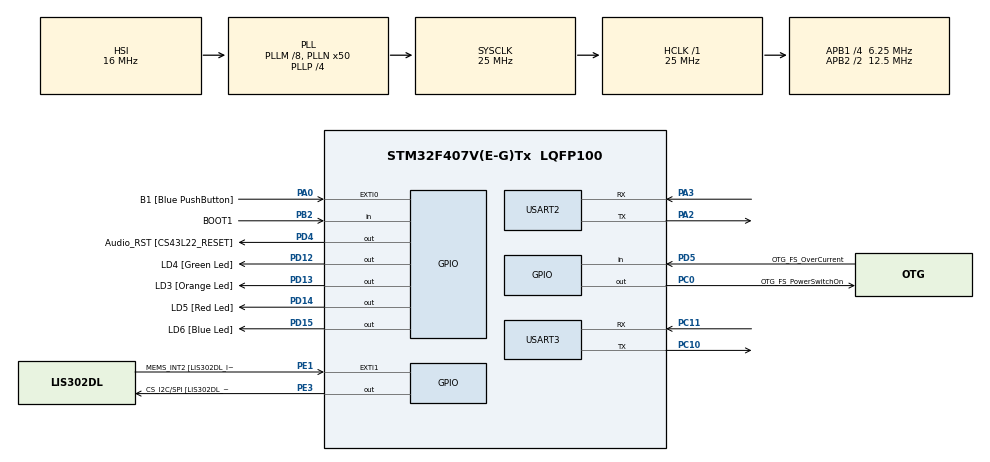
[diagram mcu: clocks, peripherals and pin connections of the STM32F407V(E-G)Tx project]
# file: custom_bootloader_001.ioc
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Mcu.Family=STM32F4
Mcu.Name=STM32F407V(E-G)Tx
Mcu.Package=LQFP100
NVIC.PriorityGroup=NVIC_PRIORITYGROUP_0
PA0-WKUP.GPIO_Label=B1 [Blue PushButton]
PA0-WKUP.Signal=GPXTI0
PA10.GPIO_Label=OTG_FS_ID
PA10.GPIO_Mode=GPIO_MODE_AF_PP
PA10.GPIO_PuPd=GPIO_NOPULL
PA10.GPIO_Speed=GPIO_SPEED_FREQ_LOW
PA10.Signal=USB_OTG_FS_ID
PA11.GPIO_Label=OTG_FS_DM
PA11.GPIO_Mode=GPIO_MODE_AF_PP
PA11.GPIO_PuPd=GPIO_NOPULL
PA11.GPIO_Speed=GPIO_SPEED_FREQ_LOW
PA11.Signal=USB_OTG_FS_DM
PA12.GPIO_Label=OTG_FS_DP
PA12.GPIO_Mode=GPIO_MODE_AF_PP
PA12.GPIO_PuPd=GPIO_NOPULL
PA12.GPIO_Speed=GPIO_SPEED_FREQ_LOW
PA12.Signal=USB_OTG_FS_DP
PA13.GPIO_Label=SWDIO
PA13.Signal=SYS_JTMS-SWDIO
PA14.GPIO_Label=SWCLK
PA14.Signal=SYS_JTCK-SWCLK
PA2.Mode=Asynchronous
PA2.Signal=USART2_TX
PA3.Mode=Asynchronous
PA3.Signal=USART2_RX
PA4.GPIO_Label=I2S3_WS [CS43L22_LRCK]
PA4.GPIO_Mode=GPIO_MODE_AF_PP
PA4.GPIO_PuPd=GPIO_NOPULL
PA4.GPIO_Speed=GPIO_SPEED_FREQ_LOW
PA4.Signal=I2S3_WS
PA5.GPIO_Label=SPI1_SCK [LIS302DL_SCL/SPC]
PA5.GPIO_Mode=GPIO_MODE_AF_PP
PA5.GPIO_PuPd=GPIO_NOPULL
PA5.GPIO_Speed=GPIO_SPEED_FREQ_LOW
PA5.Signal=SPI1_SCK
PA6.GPIO_Label=SPI1_MISO [LIS302DL_SDO]
PA6.GPIO_Mode=GPIO_MODE_AF_PP
PA6.GPIO_PuPd=GPIO_NOPULL
PA6.GPIO_Speed=GPIO_SPEED_FREQ_LOW
PA6.Signal=SPI1_MISO
PA7.GPIO_Label=SPI1_MOSI [LIS302DL_SDA/SDI/SDO]
PA7.GPIO_Mode=GPIO_MODE_AF_PP
PA7.GPIO_PuPd=GPIO_NOPULL
PA7.GPIO_Speed=GPIO_SPEED_FREQ_LOW
PA7.Signal=SPI1_MOSI
PA9.GPIO_Label=VBUS_FS
PA9.GPIO_Mode=GPIO_MODE_INPUT
PA9.GPIO_PuPd=GPIO_NOPULL
PA9.Signal=USB_OTG_FS_VBUS
PB10.GPIO_Label=CLK_IN [MP45DT02_CLK]
PB10.GPIO_Mode=GPIO_MODE_AF_PP
PB10.GPIO_PuPd=GPIO_NOPULL
PB10.GPIO_Speed=GPIO_SPEED_FREQ_LOW
PB10.Signal=I2S2_CK
PB2.GPIO_Label=BOOT1
PB2.GPIO_Mode=GPIO_MODE_INPUT
PB2.GPIO_PuPd=GPIO_NOPULL
PB2.Signal=GPIO_Input
PB3.GPIO_Label=SWO
PB3.Signal=SYS_JTDO-SWO
PB6.GPIO_Label=Audio_SCL [CS43L22_SCL]
PB6.GPIO_Mode=GPIO_MODE_AF_OD
PB6.GPIO_PuPd=GPIO_NOPULL
PB6.GPIO_Speed=GPIO_SPEED_FREQ_LOW
PB6.Signal=I2C1_SCL
PB9.GPIO_Label=Audio_SDA [CS43L22_SDA]
PB9.GPIO_Mode=GPIO_MODE_AF_OD
PB9.GPIO_PuPd=GPIO_NOPULL
PB9.GPIO_Speed=GPIO_SPEED_FREQ_LOW
PB9.Signal=I2C1_SDA
PC0.GPIO_Label=OTG_FS_PowerSwitchOn
PC0.GPIO_PuPd=GPIO_NOPULL
PC0.GPIO_Speed=GPIO_SPEED_FREQ_LOW
PC0.PinState=GPIO_PIN_SET
PC0.Signal=GPIO_Output
PC10.Mode=Asynchronous
PC10.Signal=USART3_TX
PC11.Mode=Asynchronous
PC11.Signal=USART3_RX
PC12.GPIO_Label=I2S3_SD [CS43L22_SDIN]
PC12.GPIO_Mode=GPIO_MODE_AF_PP
PC12.GPIO_PuPd=GPIO_NOPULL
PC12.GPIO_Speed=GPIO_SPEED_FREQ_LOW
PC12.Signal=I2S3_SD
PC14-OSC32_IN.GPIO_Label=PC14-OSC32_IN
PC14-OSC32_IN.Signal=RCC_OSC32_IN
PC15-OSC32_OUT.GPIO_Label=PC15-OSC32_OUT
PC15-OSC32_OUT.Signal=RCC_OSC32_OUT
PC3.GPIO_Label=PDM_OUT [MP45DT02_DOUT]
PC3.GPIO_Mode=GPIO_MODE_AF_PP
PC3.GPIO_PuPd=GPIO_NOPULL
PC3.GPIO_Speed=GPIO_SPEED_FREQ_LOW
PC3.Signal=I2S2_SD
PC7.GPIO_Label=I2S3_MCK [CS43L22_MCLK]
PC7.GPIO_Mode=GPIO_MODE_AF_PP
PC7.GPIO_PuPd=GPIO_NOPULL
PC7.GPIO_Speed=GPIO_SPEED_FREQ_LOW
PC7.Signal=I2S3_MCK
PD12.GPIO_Label=LD4 [Green Led]
PD12.GPIO_PuPd=GPIO_NOPULL
PD12.GPIO_Speed=GPIO_SPEED_FREQ_LOW
PD12.Signal=GPIO_Output
PD13.GPIO_Label=LD3 [Orange Led]
PD13.GPIO_PuPd=GPIO_NOPULL
PD13.GPIO_Speed=GPIO_SPEED_FREQ_LOW
PD13.Signal=GPIO_Output
PD14.GPIO_Label=LD5 [Red Led]
PD14.GPIO_PuPd=GPIO_NOPULL
PD14.GPIO_Speed=GPIO_SPEED_FREQ_LOW
PD14.Signal=GPIO_Output
PD15.GPIO_Label=LD6 [Blue Led]
PD15.GPIO_PuPd=GPIO_NOPULL
PD15.GPIO_Speed=GPIO_SPEED_FREQ_LOW
PD15.Signal=GPIO_Output
PD4.GPIO_Label=Audio_RST [CS43L22_RESET]
PD4.GPIO_PuPd=GPIO_NOPULL
PD4.GPIO_Speed=GPIO_SPEED_FREQ_LOW
PD4.Signal=GPIO_Output
PD5.GPIO_Label=OTG_FS_OverCurrent
PD5.GPIO_Mode=GPIO_MODE_INPUT
PD5.GPIO_PuPd=GPIO_NOPULL
PD5.Signal=GPIO_Input
PE1.GPIO_Label=MEMS_INT2 [LIS302DL_INT2]
PE1.GPIO_ModeDefaultEXTI=GPIO_MODE_EVT_RISING
PE1.GPIO_PuPd=GPIO_NOPULL
PE1.Signal=GPXTI1
PE3.GPIO_Label=CS_I2C/SPI [LIS302DL_CS_I2C/SPI]
PE3.GPIO_PuPd=GPIO_NOPULL
PE3.GPIO_Speed=GPIO_SPEED_FREQ_LOW
PE3.Signal=GPIO_Output
PH0-OSC_IN.GPIO_Label=PH0-OSC_IN
PH0-OSC_IN.Signal=RCC_OSC_IN
PH1-OSC_OUT.GPIO_Label=PH1-OSC_OUT
PH1-OSC_OUT.Signal=RCC_OSC_OUT
ProjectManager.HeapSize=0x200
ProjectManager.StackSize=0x400
ProjectManager.TargetToolchain=STM32CubeIDE
RCC.48MHZClocksFreq_Value=14285714.285714285
RCC.AHBFreq_Value=25000000
RCC.APB1CLKDivider=RCC_HCLK_DIV4
RCC.APB1Freq_Value=6250000
RCC.APB1TimFreq_Value=12500000
RCC.APB2CLKDivider=RCC_HCLK_DIV2
RCC.APB2Freq_Value=12500000
RCC.APB2TimFreq_Value=25000000
RCC.CortexFreq_Value=25000000
RCC.HCLKFreq_Value=25000000
RCC.HSE_VALUE=8000000
RCC.HSI_VALUE=16000000
RCC.LSE_VALUE=32768
RCC.PLLM=8
RCC.PLLN=50
RCC.PLLP=RCC_PLLP_DIV4
RCC.PLLQ=7
RCC.SYSCLKFreq_VALUE=25000000
RCC.SYSCLKSource=RCC_SYSCLKSOURCE_PLLCLK
RCC.VCOOutputFreq_Value=100000000
USART2.VirtualMode=VM_ASYNC
USART3.VirtualMode=VM_ASYNC
VP_CRC_VS_CRC.Mode=CRC_Activate
board=STM32F407G-DISC1

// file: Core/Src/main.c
/* USER CODE BEGIN Header */
/**
  ******************************************************************************
  * @file           : main.c
  * @brief          : Main program body
  ******************************************************************************
  * @attention
  *
  * Copyright (c) 2024 STMicroelectronics.
  * All rights reserved.
  *
  * This software is licensed under terms that can be found in the LICENSE file
  * in the root directory of this software component.
  * If no LICENSE file comes with this software, it is provided AS-IS.
  *
  ******************************************************************************
  */
/* USER CODE END Header */
#include <stdarg.h>
#include <stdint.h>
#include <stdio.h>
#include <string.h>

#include "main.h"

/* USER CODE BEGIN Includes */
#if 1
#define BL_DEBUG_MSG_EN
#endif
/* USER CODE END Includes */

CRC_HandleTypeDef hcrc;

UART_HandleTypeDef huart2;
UART_HandleTypeDef huart3;

#define CMD_UART   &huart2
#define DBG_UART   &huart3

void SystemClock_Config(void);
static void MX_GPIO_Init(void);
static void MX_CRC_Init(void);
static void MX_USART2_UART_Init(void);
static void MX_USART3_UART_Init(void);
/* USER CODE BEGIN PFP */
static void printmsg(char *format,...);
/* USER CODE END PFP */

/* USER CODE BEGIN 0 */
char someData[] = "Hello from Bootloader\n";

#define BL_RX_LEN 200
uint8_t bl_rx_buff[BL_RX_LEN];

#if 0
	const uint8_t array[0x8000] = {0};
#endif
/* USER CODE END 0 */

int main(void)
{

  /* MCU Configuration--------------------------------------------------------*/

  /* Reset of all peripherals, Initializes the Flash interface and the Systick. */
  HAL_Init();

  /* Configure the system clock */
  SystemClock_Config();

  /* Initialize all configured peripherals */
  MX_GPIO_Init();
  MX_CRC_Init();
  MX_USART2_UART_Init();
  MX_USART3_UART_Init();

#if 0
  int somevar = 0;
  for(int i = 0; i < 0x8000; i++) {
	  somevar = array[i];
  }
#endif

  /* USER CODE BEGIN 2 */
  if( HAL_GPIO_ReadPin(B1_GPIO_Port,B1_Pin) == GPIO_PIN_SET )
    {
  	  printmsg("[BL_DBG]: Button is pressed, going to BL mode...\n");
  	  //if User button is pressed, bootloader should wait for command
  	  bootloader_uart_read_data();
    }
    else
    {
  	  printmsg("[BL_DBG]: Button is not pressed, will jump to user_application.\n");
  	  //if User button is not pressed, jump to user application
  	  bootloader_jump_to_user_app();
    }
  /* USER CODE END 2 */

#if 0
  /* Infinite loop */
  while (1)
  {
	  //HAL_UART_Transmit(&huart2, (uint8_t *) someData, sizeof(someData), HAL_MAX_DELAY); //testing 'Command UART'
	  //HAL_UART_Transmit(&huart3, (uint8_t *) someData, sizeof(someData), HAL_MAX_DELAY); //testing 'Debug UART'
  }
#endif
} //main()

/***************** Implementation of common functions **************************/

uint8_t bl_verify_crc (uint8_t *pData, uint32_t len, uint32_t host_crc) {
	uint32_t bl_crc=0xFF;

    for (uint32_t i=0 ; i < len ; i++) {
        uint32_t i_data = pData[i];
        bl_crc = HAL_CRC_Accumulate(&hcrc, &i_data, 1);
	}

  __HAL_CRC_DR_RESET(&hcrc); //soft reset CRC module

	if( bl_crc == host_crc) {
		return VERIFY_CRC_SUCCESS;
	}

	return VERIFY_CRC_FAIL;
}

void bl_send_ack(uint8_t len_to_follow) {
	//we send 2 bytes here - ACK, len_to_follow in bytes
	uint8_t ack_buff[2] = {0};
	ack_buff[0] = BL_ACK;
	ack_buff[1] = len_to_follow;
	HAL_UART_Transmit(CMD_UART, ack_buff, 2, HAL_MAX_DELAY);
}

void bl_send_nack(void) {
	uint8_t nack = BL_NACK;
	HAL_UART_Transmit(CMD_UART, &nack, 1, HAL_MAX_DELAY);
}

void bl_uart_write_data(uint8_t *pData, uint8_t len) {
	HAL_UART_Transmit(CMD_UART, pData, len, HAL_MAX_DELAY);
}

uint8_t mem_write(uint8_t *pBuffer, uint32_t mem_address, uint32_t len) {
    uint8_t status=HAL_OK;

    //We have to unlock flash module to get control of registers
    HAL_FLASH_Unlock();

    for(uint32_t i = 0 ; i <len ; i++)
    {
        //Here we program the flash byte by byte
        status = HAL_FLASH_Program(FLASH_TYPEPROGRAM_BYTE,mem_address+i,pBuffer[i] );
    }

    HAL_FLASH_Lock();

    return status;
}

//verify the address sent by the host .
uint8_t verify_address(uint32_t go_address) {
	return ADDR_VALID;
}

/*******************************************************************************/

/****************** Implementation of BL CMD Handle functions ******************/

void bl_get_ver_handle(uint8_t *bl_rx_buff) {
	printmsg("[BL_DBG]: In %s\n", __func__);

	uint8_t bl_ver = 0;

	//total length of the cmd_pkt = length_to_follow + cmd + CRC
	uint8_t cmd_pkt_len = 6;

	//extract host_crc
	uint32_t host_crc = *( (uint32_t *) &bl_rx_buff[2] );
	//uint32_t host_crc = *( (uint32_t *) (bl_rx_buff + cmd_pkt_len - 4) );

	if( !(bl_verify_crc(bl_rx_buff, cmd_pkt_len - 4, host_crc)) ) {
		//CRC pass
		printmsg("[BL_DBG]: CRC PASS !!\n");
		bl_send_ack(1); //only 1 Byte will be send in reply
		bl_ver = (uint8_t) BL_VERSION;
		printmsg("[BL_DBG]: BL_VERSION = %d, 0x%x\n", bl_ver, bl_ver);
		bl_uart_write_data(&bl_ver, 1);
	}
	else {
		//CRC fail
		printmsg("[BL_DBG]: CRC FAIL !!!!!\n");
		bl_send_nack();
	}

}

void bl_get_help_handle(uint8_t *bl_rx_buff) {

}

void bl_get_cid_handle(uint8_t *bl_rx_buff) {

}

/*******************************************************************************/

void bl_mem_write_cmd_handle(uint8_t *pBuffer)
{
	//uint8_t addr_valid = ADDR_VALID;
	uint8_t write_status = 0x00;
	//uint8_t len=0;
	//len = pBuffer[0];
	uint8_t payload_len = pBuffer[6];

	uint32_t mem_address = *((uint32_t *) ( &pBuffer[2]) );

	//chksum = pBuffer[len];

    printmsg("BL_DEBUG_MSG:bootloader_handle_mem_write_cmd\n");

    //Total length of the command packet
	uint32_t command_packet_len = bl_rx_buff[0]+1 ;

	//extract the CRC32 sent by the Host
	uint32_t host_crc = *((uint32_t * ) (bl_rx_buff+command_packet_len - 4) ) ;

	if (! bl_verify_crc(&bl_rx_buff[0],command_packet_len-4,host_crc))
	{
        printmsg("BL_DEBUG_MSG:checksum success !!\n");

        bl_send_ack(1);

        printmsg("BL_DEBUG_MSG: mem write address : %#x\n",mem_address);

		if( verify_address(mem_address) == ADDR_VALID )
		{

            printmsg("BL_DEBUG_MSG: valid mem write address\n");

            //glow the led to indicate bootloader is currently writing to memory
            HAL_GPIO_WritePin(LD4_GPIO_Port, LD4_Pin, GPIO_PIN_SET);

            //execute mem write
            write_status = mem_write(&pBuffer[7],mem_address, payload_len);

            //turn off the led to indicate memory write is over
            HAL_GPIO_WritePin(LD4_GPIO_Port, LD4_Pin, GPIO_PIN_RESET);

            //inform host about the status
            bl_uart_write_data(&write_status,1);

		}else
		{
            printmsg("BL_DEBUG_MSG: invalid mem write address\n");
            write_status = ADDR_INVALID;
            //inform host that address is invalid
            bl_uart_write_data(&write_status,1);
		}

	}else
	{
        printmsg("BL_DEBUG_MSG:checksum fail !!\n");
        bl_send_nack();
	}

}

void bootloader_uart_read_data(void) {
	uint8_t pkt_len_to_follow = 0;

	while(1) {
		memset(bl_rx_buff, 0, 200);
		//here, read and decode commands from the Host
		//first, read only the 'length' field of the CMD packet and then read 'length' bytes
		HAL_UART_Receive(CMD_UART, bl_rx_buff, 1, HAL_MAX_DELAY);
		pkt_len_to_follow = bl_rx_buff[0];
		HAL_UART_Receive(CMD_UART, &bl_rx_buff[1], pkt_len_to_follow, HAL_MAX_DELAY);

		//based on the CMD, process accordingly
		switch(bl_rx_buff[1]) {
			case BL_GET_VER:
				bl_get_ver_handle(bl_rx_buff);
				break;
			case BL_GET_HELP:
				bl_get_help_handle(bl_rx_buff);
				break;
			case BL_GET_CID:
				bl_get_cid_handle(bl_rx_buff);
				break;
			case BL_MEM_WRITE:
				bl_mem_write_cmd_handle(bl_rx_buff);
			default:
				printmsg("[BL_DBG]: Invalid bootloader command\n");
				break;
		}
	}
}

void bootloader_jump_to_user_app(void) {
	//fn_ptr to hold the address of the user_application's reset_handler
	void (*fn_ptr_void_void) (void) = NULL;

#if 0 //is this really needed ?? Working without this. Taken care by the reset_handler of user_application
	//configure MSP by reading the first word of the user_application region in Flash memory
	uint32_t msp_value = *( (volatile uint32_t *) FLASH_SECTOR2_BASE_ADDRESS );
	printmsg("[BL_DBG]: MSP value = 0x%x\n", msp_value);
	__set_MSP(msp_value); //CMSIS API
#endif

	//store the addr of user_application's reset_handler in the fn_ptr
	uint32_t reset_handler_addr = *( (volatile uint32_t *) (FLASH_SECTOR2_BASE_ADDRESS + 4) );
	printmsg("[BL_DBG]: reset_handler_addr of user_application = 0x%x\n", reset_handler_addr);
	fn_ptr_void_void = (void *) reset_handler_addr;

	//jump to the reset_handler of user_application
	printmsg("[BL_DBG]: bootloader jumping to user_application...\n");
	fn_ptr_void_void();
} //void bootloader_jump_to_user_app(void)

/* prints formatted string to console over UART */
 void printmsg(char *format,...)
 {
#ifdef BL_DEBUG_MSG_EN
	char str[80];

	/*Extract the the argument list using VA apis */
	va_list args;
	va_start(args, format);
	vsprintf(str, format,args);
	HAL_UART_Transmit(DBG_UART,(uint8_t *)str, strlen(str),HAL_MAX_DELAY);
	va_end(args);
#endif
 }

void SystemClock_Config(void)
{
  RCC_OscInitTypeDef RCC_OscInitStruct = {0};
  RCC_ClkInitTypeDef RCC_ClkInitStruct = {0};

  /** Configure the main internal regulator output voltage
  */
  __HAL_RCC_PWR_CLK_ENABLE();
  __HAL_PWR_VOLTAGESCALING_CONFIG(PWR_REGULATOR_VOLTAGE_SCALE1);

  /** Initializes the RCC Oscillators according to the specified parameters
  * in the RCC_OscInitTypeDef structure.
  */
  RCC_OscInitStruct.OscillatorType = RCC_OSCILLATORTYPE_HSI;
  RCC_OscInitStruct.HSIState = RCC_HSI_ON;
  RCC_OscInitStruct.HSICalibrationValue = RCC_HSICALIBRATION_DEFAULT;
  RCC_OscInitStruct.PLL.PLLState = RCC_PLL_ON;
  RCC_OscInitStruct.PLL.PLLSource = RCC_PLLSOURCE_HSI;
  RCC_OscInitStruct.PLL.PLLM = 8;
  RCC_OscInitStruct.PLL.PLLN = 50;
  RCC_OscInitStruct.PLL.PLLP = RCC_PLLP_DIV4;
  RCC_OscInitStruct.PLL.PLLQ = 7;
  if (HAL_RCC_OscConfig(&RCC_OscInitStruct) != HAL_OK)
  {
    Error_Handler();
  }

  /** Initializes the CPU, AHB and APB buses clocks
  */
  RCC_ClkInitStruct.ClockType = RCC_CLOCKTYPE_HCLK|RCC_CLOCKTYPE_SYSCLK
                              |RCC_CLOCKTYPE_PCLK1|RCC_CLOCKTYPE_PCLK2;
  RCC_ClkInitStruct.SYSCLKSource = RCC_SYSCLKSOURCE_PLLCLK;
  RCC_ClkInitStruct.AHBCLKDivider = RCC_SYSCLK_DIV1;
  RCC_ClkInitStruct.APB1CLKDivider = RCC_HCLK_DIV4;
  RCC_ClkInitStruct.APB2CLKDivider = RCC_HCLK_DIV2;

  if (HAL_RCC_ClockConfig(&RCC_ClkInitStruct, FLASH_LATENCY_0) != HAL_OK)
  {
    Error_Handler();
  }
}

static void MX_CRC_Init(void)
{

  hcrc.Instance = CRC;
  if (HAL_CRC_Init(&hcrc) != HAL_OK)
  {
    Error_Handler();
  }

}

static void MX_USART2_UART_Init(void)
{

  huart2.Instance = USART2;
  huart2.Init.BaudRate = 115200;
  huart2.Init.WordLength = UART_WORDLENGTH_8B;
  huart2.Init.StopBits = UART_STOPBITS_1;
  huart2.Init.Parity = UART_PARITY_NONE;
  huart2.Init.Mode = UART_MODE_TX_RX;
  huart2.Init.HwFlowCtl = UART_HWCONTROL_NONE;
  huart2.Init.OverSampling = UART_OVERSAMPLING_16;
  if (HAL_UART_Init(&huart2) != HAL_OK)
  {
    Error_Handler();
  }

}

static void MX_USART3_UART_Init(void)
{

  huart3.Instance = USART3;
  huart3.Init.BaudRate = 115200;
  huart3.Init.WordLength = UART_WORDLENGTH_8B;
  huart3.Init.StopBits = UART_STOPBITS_1;
  huart3.Init.Parity = UART_PARITY_NONE;
  huart3.Init.Mode = UART_MODE_TX_RX;
  huart3.Init.HwFlowCtl = UART_HWCONTROL_NONE;
  huart3.Init.OverSampling = UART_OVERSAMPLING_16;
  if (HAL_UART_Init(&huart3) != HAL_OK)
  {
    Error_Handler();
  }

}

static void MX_GPIO_Init(void)
{
  GPIO_InitTypeDef GPIO_InitStruct = {0};

  /* GPIO Ports Clock Enable */
  __HAL_RCC_GPIOE_CLK_ENABLE();
  __HAL_RCC_GPIOC_CLK_ENABLE();
  __HAL_RCC_GPIOH_CLK_ENABLE();
  __HAL_RCC_GPIOA_CLK_ENABLE();
  __HAL_RCC_GPIOB_CLK_ENABLE();
  __HAL_RCC_GPIOD_CLK_ENABLE();

  /*Configure GPIO pin Output Level */
  HAL_GPIO_WritePin(CS_I2C_SPI_GPIO_Port, CS_I2C_SPI_Pin, GPIO_PIN_RESET);

  /*Configure GPIO pin Output Level */
  HAL_GPIO_WritePin(OTG_FS_PowerSwitchOn_GPIO_Port, OTG_FS_PowerSwitchOn_Pin, GPIO_PIN_SET);

  /*Configure GPIO pin Output Level */
  HAL_GPIO_WritePin(GPIOD, LD4_Pin|LD3_Pin|LD5_Pin|LD6_Pin
                          |Audio_RST_Pin, GPIO_PIN_RESET);

  /*Configure GPIO pin : CS_I2C_SPI_Pin */
  GPIO_InitStruct.Pin = CS_I2C_SPI_Pin;
  GPIO_InitStruct.Mode = GPIO_MODE_OUTPUT_PP;
  GPIO_InitStruct.Pull = GPIO_NOPULL;
  GPIO_InitStruct.Speed = GPIO_SPEED_FREQ_LOW;
  HAL_GPIO_Init(CS_I2C_SPI_GPIO_Port, &GPIO_InitStruct);

  /*Configure GPIO pin : OTG_FS_PowerSwitchOn_Pin */
  GPIO_InitStruct.Pin = OTG_FS_PowerSwitchOn_Pin;
  GPIO_InitStruct.Mode = GPIO_MODE_OUTPUT_PP;
  GPIO_InitStruct.Pull = GPIO_NOPULL;
  GPIO_InitStruct.Speed = GPIO_SPEED_FREQ_LOW;
  HAL_GPIO_Init(OTG_FS_PowerSwitchOn_GPIO_Port, &GPIO_InitStruct);

  /*Configure GPIO pin : PDM_OUT_Pin */
  GPIO_InitStruct.Pin = PDM_OUT_Pin;
  GPIO_InitStruct.Mode = GPIO_MODE_AF_PP;
  GPIO_InitStruct.Pull = GPIO_NOPULL;
  GPIO_InitStruct.Speed = GPIO_SPEED_FREQ_LOW;
  GPIO_InitStruct.Alternate = GPIO_AF5_SPI2;
  HAL_GPIO_Init(PDM_OUT_GPIO_Port, &GPIO_InitStruct);

  /*Configure GPIO pin : B1_Pin */
  GPIO_InitStruct.Pin = B1_Pin;
  GPIO_InitStruct.Mode = GPIO_MODE_IT_RISING;
  GPIO_InitStruct.Pull = GPIO_NOPULL;
  HAL_GPIO_Init(B1_GPIO_Port, &GPIO_InitStruct);

  /*Configure GPIO pin : I2S3_WS_Pin */
  GPIO_InitStruct.Pin = I2S3_WS_Pin;
  GPIO_InitStruct.Mode = GPIO_MODE_AF_PP;
  GPIO_InitStruct.Pull = GPIO_NOPULL;
  GPIO_InitStruct.Speed = GPIO_SPEED_FREQ_LOW;
  GPIO_InitStruct.Alternate = GPIO_AF6_SPI3;
  HAL_GPIO_Init(I2S3_WS_GPIO_Port, &GPIO_InitStruct);

  /*Configure GPIO pins : SPI1_SCK_Pin SPI1_MISO_Pin SPI1_MOSI_Pin */
  GPIO_InitStruct.Pin = SPI1_SCK_Pin|SPI1_MISO_Pin|SPI1_MOSI_Pin;
  GPIO_InitStruct.Mode = GPIO_MODE_AF_PP;
  GPIO_InitStruct.Pull = GPIO_NOPULL;
  GPIO_InitStruct.Speed = GPIO_SPEED_FREQ_LOW;
  GPIO_InitStruct.Alternate = GPIO_AF5_SPI1;
  HAL_GPIO_Init(GPIOA, &GPIO_InitStruct);

  /*Configure GPIO pin : BOOT1_Pin */
  GPIO_InitStruct.Pin = BOOT1_Pin;
  GPIO_InitStruct.Mode = GPIO_MODE_INPUT;
  GPIO_InitStruct.Pull = GPIO_NOPULL;
  HAL_GPIO_Init(BOOT1_GPIO_Port, &GPIO_InitStruct);

  /*Configure GPIO pin : CLK_IN_Pin */
  GPIO_InitStruct.Pin = CLK_IN_Pin;
  GPIO_InitStruct.Mode = GPIO_MODE_AF_PP;
  GPIO_InitStruct.Pull = GPIO_NOPULL;
  GPIO_InitStruct.Speed = GPIO_SPEED_FREQ_LOW;
  GPIO_InitStruct.Alternate = GPIO_AF5_SPI2;
  HAL_GPIO_Init(CLK_IN_GPIO_Port, &GPIO_InitStruct);

  /*Configure GPIO pins : LD4_Pin LD3_Pin LD5_Pin LD6_Pin
                           Audio_RST_Pin */
  GPIO_InitStruct.Pin = LD4_Pin|LD3_Pin|LD5_Pin|LD6_Pin
                          |Audio_RST_Pin;
  GPIO_InitStruct.Mode = GPIO_MODE_OUTPUT_PP;
  GPIO_InitStruct.Pull = GPIO_NOPULL;
  GPIO_InitStruct.Speed = GPIO_SPEED_FREQ_LOW;
  HAL_GPIO_Init(GPIOD, &GPIO_InitStruct);

  /*Configure GPIO pins : I2S3_MCK_Pin I2S3_SD_Pin */
  GPIO_InitStruct.Pin = I2S3_MCK_Pin|I2S3_SD_Pin;
  GPIO_InitStruct.Mode = GPIO_MODE_AF_PP;
  GPIO_InitStruct.Pull = GPIO_NOPULL;
  GPIO_InitStruct.Speed = GPIO_SPEED_FREQ_LOW;
  GPIO_InitStruct.Alternate = GPIO_AF6_SPI3;
  HAL_GPIO_Init(GPIOC, &GPIO_InitStruct);

  /*Configure GPIO pin : VBUS_FS_Pin */
  GPIO_InitStruct.Pin = VBUS_FS_Pin;
  GPIO_InitStruct.Mode = GPIO_MODE_INPUT;
  GPIO_InitStruct.Pull = GPIO_NOPULL;
  HAL_GPIO_Init(VBUS_FS_GPIO_Port, &GPIO_InitStruct);

  /*Configure GPIO pins : OTG_FS_ID_Pin OTG_FS_DM_Pin OTG_FS_DP_Pin */
  GPIO_InitStruct.Pin = OTG_FS_ID_Pin|OTG_FS_DM_Pin|OTG_FS_DP_Pin;
  GPIO_InitStruct.Mode = GPIO_MODE_AF_PP;
  GPIO_InitStruct.Pull = GPIO_NOPULL;
  GPIO_InitStruct.Speed = GPIO_SPEED_FREQ_LOW;
  GPIO_InitStruct.Alternate = GPIO_AF10_OTG_FS;
  HAL_GPIO_Init(GPIOA, &GPIO_InitStruct);

  /*Configure GPIO pin : OTG_FS_OverCurrent_Pin */
  GPIO_InitStruct.Pin = OTG_FS_OverCurrent_Pin;
  GPIO_InitStruct.Mode = GPIO_MODE_INPUT;
  GPIO_InitStruct.Pull = GPIO_NOPULL;
  HAL_GPIO_Init(OTG_FS_OverCurrent_GPIO_Port, &GPIO_InitStruct);

  /*Configure GPIO pins : Audio_SCL_Pin Audio_SDA_Pin */
  GPIO_InitStruct.Pin = Audio_SCL_Pin|Audio_SDA_Pin;
  GPIO_InitStruct.Mode = GPIO_MODE_AF_OD;
  GPIO_InitStruct.Pull = GPIO_NOPULL;
  GPIO_InitStruct.Speed = GPIO_SPEED_FREQ_LOW;
  GPIO_InitStruct.Alternate = GPIO_AF4_I2C1;
  HAL_GPIO_Init(GPIOB, &GPIO_InitStruct);

  /*Configure GPIO pin : MEMS_INT2_Pin */
  GPIO_InitStruct.Pin = MEMS_INT2_Pin;
  GPIO_InitStruct.Mode = GPIO_MODE_EVT_RISING;
  GPIO_InitStruct.Pull = GPIO_NOPULL;
  HAL_GPIO_Init(MEMS_INT2_GPIO_Port, &GPIO_InitStruct);

}

void Error_Handler(void)
{
  __disable_irq();
  while (1)
  {
  }
}
